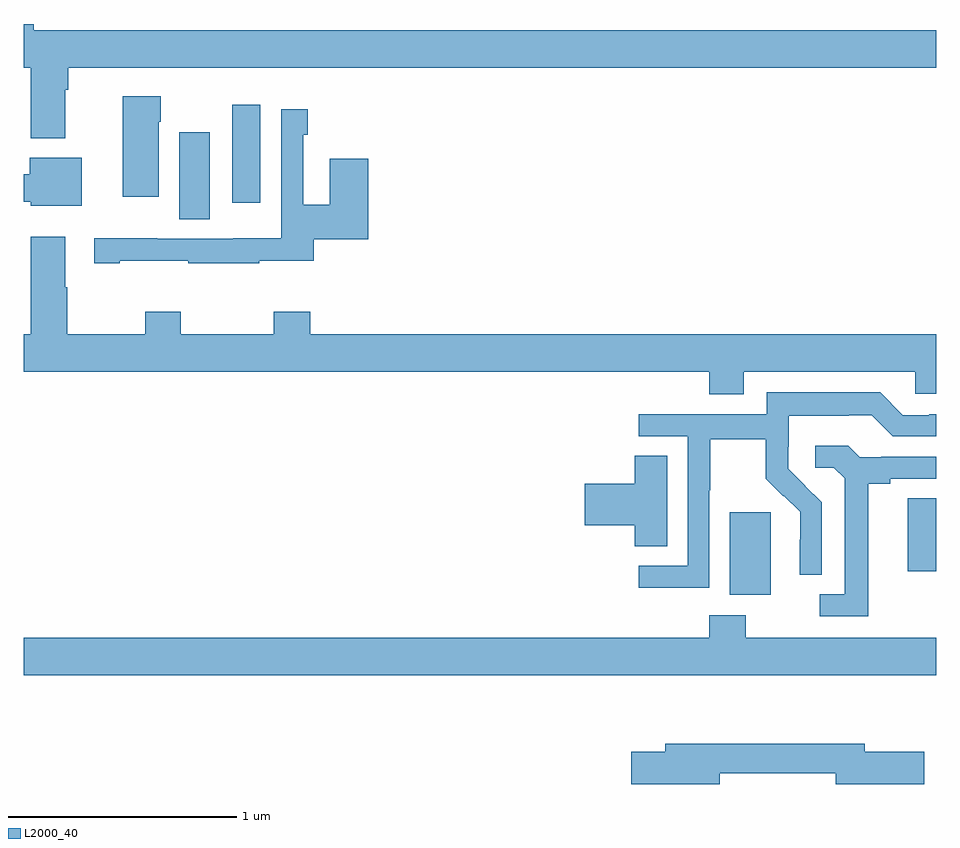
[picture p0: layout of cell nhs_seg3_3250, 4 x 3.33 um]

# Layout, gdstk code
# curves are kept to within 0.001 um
import gdstk
lib = gdstk.Library(unit=1e-6, precision=1e-09)
def R(c, l, rs):  # rectangles x0, y0, x1, y1
    for r in rs: c.add(gdstk.rectangle(r[:2], r[2:], *l))
def P(c, l, *ps):  # polygons
    for p in ps: c.add(gdstk.Polygon(p, *l))
L2000_40 = (2000, 40)

nhs_seg3_3250 = lib.new_cell('nhs_seg3_3250')
R(nhs_seg3_3250, L2000_40, [(282.095,739.898,282.274,740.259), (282.875,740.001,283,740.321), (279.68,741.544,279.814,741.925), (279.914,741.615,280.036,742.045)])
P(nhs_seg3_3250, L2000_40, [(279.181,742.112),(279.194,742.112),(279.194,742.208),(283,742.208),(283,742.372),(279.044,742.372),(279.044,742.4),(279,742.4),(279,742.208),(279.029,742.208),(279.029,741.899),(279.181,741.899)],
  [(279.592,741.971),(279.6,741.971),(279.6,742.084),(279.434,742.084),(279.434,741.642),(279.592,741.642)],
  [(279.421,741.361),(279.721,741.361),(279.721,741.351),(280.031,741.351),(280.031,741.361),(280.271,741.361),(280.271,741.455),(280.511,741.455),(280.511,741.808),(280.34,741.808),(280.34,741.608),(280.224,741.608),(280.224,741.914),(280.244,741.914),(280.244,742.027),(280.128,742.027),(280.128,741.46),(279.918,741.46),(279.918,741.459),(279.584,741.459),(279.584,741.461),(279.309,741.461),(279.309,741.351),(279.421,741.351)],
  [(279.253,741.814),(279.026,741.814),(279.026,741.742),(279,741.742),(279,741.62),(279.03,741.62),(279.03,741.602),(279.253,741.602)],
  [(282.157,740.876),(282.909,740.876),(282.909,740.778),(283,740.778),(283,741.04),(280.256,741.04),(280.256,741.139),(280.096,741.139),(280.096,741.04),(279.687,741.04),(279.687,741.139),(279.532,741.139),(279.532,741.04),(279.189,741.04),(279.189,741.245),(279.181,741.245),(279.181,741.466),(279.029,741.466),(279.029,741.04),(279,741.04),(279,740.876),(282.005,740.876),(282.005,740.777),(282.157,740.777)],
  [(282.006,740.356),(282.009,740.356),(282.009,740.58),(282.253,740.58),(282.253,740.405),(282.33,740.328),(282.333,740.331),(282.404,740.261),(282.404,740.138),(282.402,740.138),(282.402,739.984),(282.498,739.984),(282.498,740.302),(282.352,740.45),(282.352,740.547),(282.354,740.547),(282.354,740.681),(282.617,740.681),(282.617,740.685),(282.717,740.685),(282.81,740.592),(283,740.592),(283,740.688),(282.971,740.688),(282.971,740.685),(282.855,740.685),(282.755,740.785),(282.258,740.785),(282.258,740.688),(281.697,740.688),(281.697,740.592),(281.91,740.592),(281.91,740.025),(281.697,740.025),(281.697,739.927),(282.006,739.927)],
  [(282.703,740.384),(282.799,740.384),(282.799,740.406),(283,740.406),(283,740.502),(282.76,740.502),(282.76,740.499),(282.666,740.499),(282.614,740.551),(282.471,740.551),(282.471,740.454),(282.552,740.454),(282.599,740.407),(282.599,739.899),(282.489,739.899),(282.489,739.803),(282.703,739.803)],
  [(281.821,740.507),(281.678,740.507),(281.678,740.384),(281.46,740.384),(281.46,740.201),(281.678,740.201),(281.678,740.11),(281.821,740.11)],
  [(283,739.708),(282.165,739.708),(282.165,739.807),(282.005,739.807),(282.005,739.708),(279,739.708),(279,739.544),(283,739.544)],
  [(282.052,739.114),(282.56,739.114),(282.56,739.067),(282.949,739.067),(282.949,739.209),(282.688,739.209),(282.688,739.243),(281.813,739.243),(281.813,739.209),(281.664,739.209),(281.664,739.067),(282.052,739.067)])

lib.write_gds('nhs_seg3_3250.gds')
